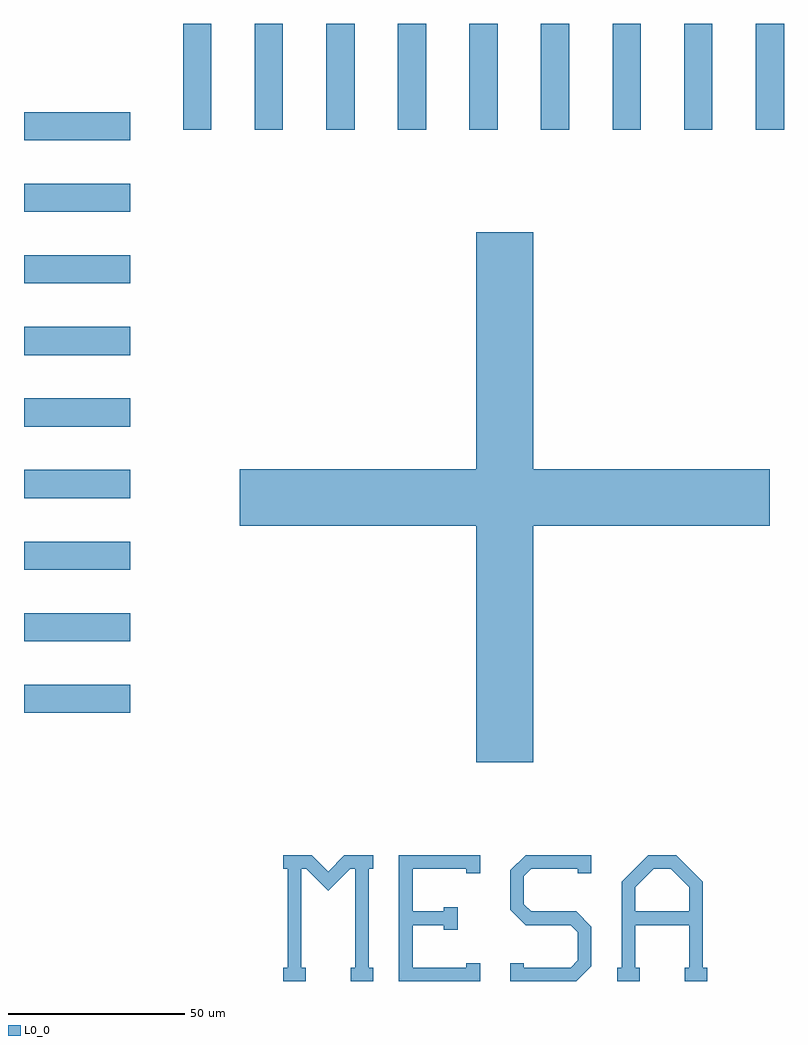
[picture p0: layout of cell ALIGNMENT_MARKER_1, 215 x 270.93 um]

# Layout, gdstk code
import gdstk
lib = gdstk.Library(unit=1e-6, precision=5e-09)
def R(c, l, rs):  # rectangles x0, y0, x1, y1
    for r in rs: c.add(gdstk.rectangle(r[:2], r[2:], *l))
def A(c, l, x, y, w, h, nx, ny, dx, dy):  # array of equal rectangles
    R(c, l, [(x+i*dx, y+j*dy, x+i*dx+w, y+j*dy+h) for i in range(nx) for j in range(ny)])
def P(c, l, *ps):  # polygons
    for p in ps: c.add(gdstk.Polygon(p, *l))
L0_0 = (0, 0)

alignment_marker_1 = lib.new_cell('ALIGNMENT_MARKER_1')
A(alignment_marker_1, L0_0, -136, -61, 30, 8, 1, 9, 0, 20.25)
A(alignment_marker_1, L0_0, -91, 104, 8, 30, 9, 1, 20.25, 0)
R(alignment_marker_1, L0_0, [(-62.68,-136.925,-56.32,-133.075), (-43.59,-136.925,-37.225,-133.075), (31.82,-136.925,38.18,-133.075), (50.91,-136.925,57.275,-133.075), (-61.425,-135,-57.575,-103.18), (-42.335,-135,-38.485,-103.18), (-17.2,-122.275,-13.35,-115.91), (-28,-121.015,-15.275,-117.165), (35,-121.015,54.09,-117.165), (-8,-75,8,75), (-75,-8,75,8)])
P(alignment_marker_1, L0_0, [(-62.68,-101.255),(-54.565,-101.255),(-49.955,-105.87),(-45.345,-101.255),(-37.225,-101.255),(-37.225,-105.105),(-43.75,-105.105),(-49.955,-111.315),(-56.16,-105.105),(-62.68,-105.105)],
  [(-6.985,-131.82),(-6.985,-136.925),(-29.925,-136.925),(-29.925,-101.255),(-6.985,-101.255),(-6.985,-106.365),(-10.835,-106.365),(-10.835,-105.105),(-26.075,-105.105),(-26.075,-133.075),(-10.835,-133.075),(-10.835,-131.82)],
  [(5.425,-131.82),(5.425,-133.075),(18.61,-133.075),(20.665,-131.02),(20.665,-123.07),(18.61,-121.015),(5.885,-121.015),(1.575,-116.705),(1.575,-105.565),(5.885,-101.255),(24.515,-101.255),(24.515,-106.365),(20.665,-106.365),(20.665,-105.105),(7.48,-105.105),(5.425,-107.16),(5.425,-115.11),(7.48,-117.165),(20.205,-117.165),(24.515,-121.475),(24.515,-132.615),(20.205,-136.925),(1.575,-136.925),(1.575,-131.82)],
  [(33.075,-135),(33.075,-108.75),(40.565,-101.255),(48.525,-101.255),(56.015,-108.75),(56.015,-135),(52.165,-135),(52.165,-110.345),(46.93,-105.105),(42.16,-105.105),(36.925,-110.345),(36.925,-135)])

lib.write_gds('ALIGNMENT_MARKER_1.gds')
